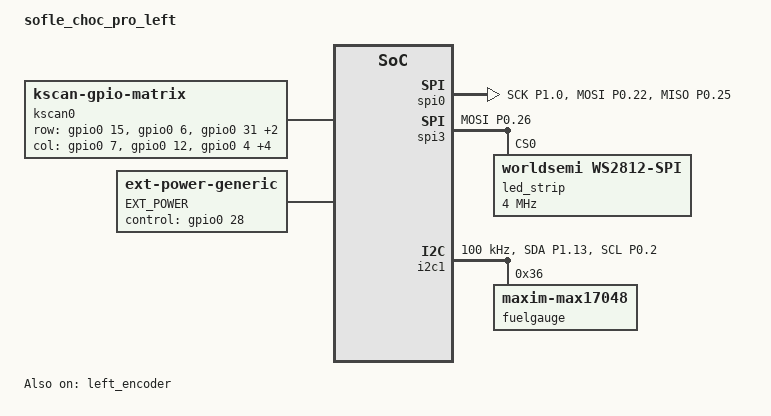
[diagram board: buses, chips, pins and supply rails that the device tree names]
/*
* Copyright (c) 2020 The ZMK Contributors
*
* SPDX-License-Identifier: MIT
*/

#include "sofle_choc_pro.dtsi"
#include <dt-bindings/led/led.h>

/ {
    model = "sofle_choc_pro_left";
    compatible = "sofle_choc_pro_left";

    chosen {
        zmk,battery = &fuelgauge;
        zmk,underglow = &led_strip;
    };

    kscan0: kscan {
        compatible = "zmk,kscan-gpio-matrix";
        diode-direction = "col2row";
        row-gpios
            = <&gpio0  15 (GPIO_ACTIVE_HIGH | GPIO_PULL_DOWN)>
            , <&gpio0   6 (GPIO_ACTIVE_HIGH | GPIO_PULL_DOWN)>
            , <&gpio0  31 (GPIO_ACTIVE_HIGH | GPIO_PULL_DOWN)>
            , <&gpio0  30 (GPIO_ACTIVE_HIGH | GPIO_PULL_DOWN)>
            , <&gpio1   9 (GPIO_ACTIVE_HIGH | GPIO_PULL_DOWN)>
        ;
        col-gpios
            = <&gpio0  7 GPIO_ACTIVE_HIGH>
            , <&gpio0 12 GPIO_ACTIVE_HIGH>
            , <&gpio0  4 GPIO_ACTIVE_HIGH>
            , <&gpio0  5 GPIO_ACTIVE_HIGH>
            , <&gpio0  8 GPIO_ACTIVE_HIGH>
            , <&gpio0 17 GPIO_ACTIVE_HIGH>
            , <&gpio0 29 GPIO_ACTIVE_HIGH>
        ;
        wakeup-source;
    };

    // Node name must match original "EXT_POWER" label to preserve user settings.
    EXT_POWER {
        compatible = "zmk,ext-power-generic";
        control-gpios = <&gpio0 28 GPIO_ACTIVE_HIGH>;
        init-delay-ms = <50>;
    };
};

&left_encoder {
    status = "okay";
};

&pinctrl {
    i2c1_default: i2c1_default {
        group1 {
            psels = <NRF_PSEL(TWIM_SDA, 1, 13)>,
                <NRF_PSEL(TWIM_SCL, 0, 2)>;
        };
    };

    i2c1_sleep: i2c1_sleep {
        group1 {
            psels = <NRF_PSEL(TWIM_SDA, 1, 13)>,
                <NRF_PSEL(TWIM_SCL, 0, 2)>;
            low-power-enable;
        };
    };

    spi0_default: spi0_default {
        group1 {
            psels = <NRF_PSEL(SPIM_SCK, 1, 0)>,
                <NRF_PSEL(SPIM_MOSI, 0, 22)>,
                <NRF_PSEL(SPIM_MISO, 0, 25)>;
        };
    };
    spi0_sleep: spi0_sleep {
        group1 {
            psels = <NRF_PSEL(SPIM_SCK, 1, 0)>,
                <NRF_PSEL(SPIM_MOSI, 0, 22)>,
                <NRF_PSEL(SPIM_MISO, 0, 25)>;
            low-power-enable;
        };
    };

    spi3_default: spi3_default {
        group1 {
            psels = <NRF_PSEL(SPIM_MOSI, 0, 26)>;
        };
    };

    spi3_sleep: spi3_sleep {
        group1 {
            psels = <NRF_PSEL(SPIM_MOSI, 0, 26)>;
            low-power-enable;
        };  
    };
};

nice_view_spi: &spi0 {
    compatible = "nordic,nrf-spim";
    pinctrl-0 = <&spi0_default>;
    pinctrl-1 = <&spi0_sleep>;
    pinctrl-names = "default", "sleep";
    cs-gpios = <&gpio0 20 GPIO_ACTIVE_HIGH>;
};

&spi3 {
    compatible = "nordic,nrf-spim";
    status = "okay";

    pinctrl-0 = <&spi3_default>;
    pinctrl-1 = <&spi3_sleep>;
    pinctrl-names = "default", "sleep";

    led_strip: ws2812@0 {
        compatible = "worldsemi,ws2812-spi";

        /* SPI */
        reg = <0>; /* ignored, but necessary for SPI bindings */
        spi-max-frequency = <4000000>;

        /* WS2812 */
        chain-length = <30>; /* number of LEDs */
        spi-one-frame = <0x70>;
        spi-zero-frame = <0x40>;
        color-mapping = <LED_COLOR_ID_GREEN
            LED_COLOR_ID_RED
            LED_COLOR_ID_BLUE>;
    };
};

&i2c1 {
    status = "okay";
    compatible = "nordic,nrf-twim";
    pinctrl-0 = <&i2c1_default>;
    pinctrl-1 = <&i2c1_sleep>;
    pinctrl-names = "default", "sleep";
    clock-frequency = <100000>;

    fuelgauge: max17048@36 {
        compatible = "zmk,maxim-max17048";
        reg = <0x36>;
    };
};
